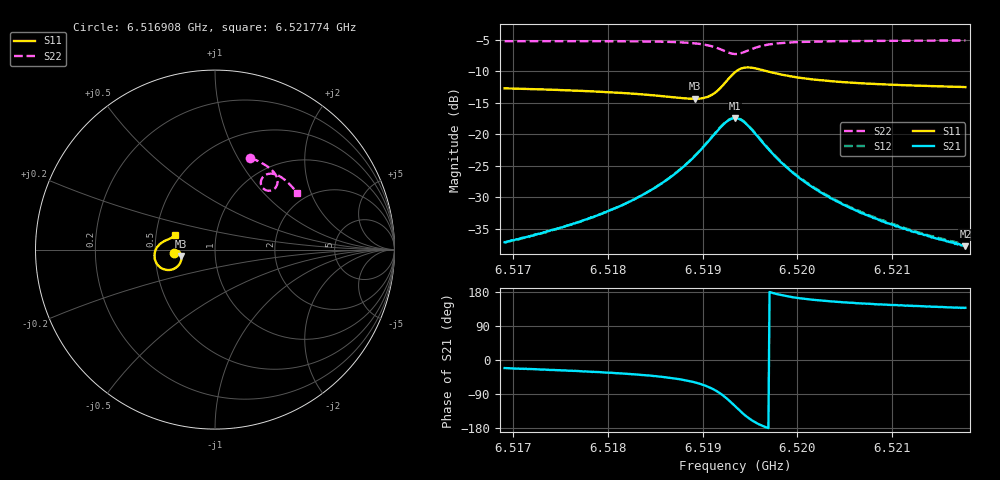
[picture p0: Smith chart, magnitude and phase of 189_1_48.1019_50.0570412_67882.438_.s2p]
#  HZ  S  RI  R  50.00
! Rohde & Schwarz Vector Network Analyzer
! Rohde-Schwarz,ZNB20-2Port,1311601062101988,3.16
! Created: UTC 12/23/2023, 3:53:33 AM
! freq[Hz]  re:S11  im:S11  re:S21  im:S21  re:S12  im:S12  re:S22  im:S22
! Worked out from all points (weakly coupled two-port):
!   401 points, 6.516908 GHz to 6.521774 GHz, reference 50 ohm
!   highest |S21| = -17.45 dB at 6.519341 GHz (marker M1); lowest = -37.8 dB at 6.521774 GHz (marker M2)
!   lowest |S11| = -14.4 dB at 6.518916 GHz (marker M3), VSWR 1.47, Z = 34.1 - j2.48 ohm
!   |S11| at or under -10 dB: start of sweep to 6.519354 GHz; 6.519683 GHz to end of sweep
!   |S22| runs from -7.3 to -5.1 dB; largest |S21 - S12| = 0.0041
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6.5169083e9  -0.2311 -0.0189  0.0129 -0.00504  0.0131 -0.00462  0.1967 0.5115
6.5173219e9  -0.2265 -0.0126  0.0151 -0.00709  0.0152 -0.00654  0.2274 0.4992
6.5177233e9  -0.2209 -0.00776  0.0177 -0.0102  0.0181 -0.00959  0.257 0.4845
6.5181613e9  -0.2126 -0.00539  0.0222 -0.0161  0.023 -0.0154  0.29 0.4645
6.5185384e9  -0.2018 -0.00951  0.0284 -0.0272  0.0295 -0.0264  0.319 0.4407
6.5187331e9  -0.1944 -0.0177  0.0324 -0.0384  0.0338 -0.0376  0.334 0.4229
6.5189155e9  -0.1881 -0.0351  0.0345 -0.0572  0.0365 -0.0566  0.3459 0.3985
6.519025e9  -0.1878 -0.0539  0.0314 -0.0758  0.034 -0.0753  0.3489 0.3776
6.5191102e9  -0.1945 -0.0749  0.0222 -0.0948  0.0252 -0.0948  0.3444 0.3575
6.519244e9  -0.2358 -0.1099  -0.0201 -0.1229  -0.0167 -0.1244  0.3129 0.3295
6.5192927e9  -0.2629 -0.1139  -0.0451 -0.1235  -0.0417 -0.1258  0.2933 0.3283
6.5193413e9  -0.292 -0.1067  -0.0703 -0.1143  -0.0676 -0.1171  0.2743 0.3361
6.51939e9  -0.3166 -0.0888  -0.0904 -0.0959  -0.0881 -0.0993  0.2607 0.3515
6.5194508e9  -0.3338 -0.0582  -0.1024 -0.0674  -0.1013 -0.071  0.2553 0.3749
6.5195603e9  -0.3334 -0.00899  -0.0967 -0.0255  -0.0967 -0.0286  0.2694 0.407
6.5196698e9  -0.3176 0.0199  -0.0799 -0.00353  -0.0805 -0.00581  0.2921 0.4204
6.5199009e9  -0.2874 0.0446  -0.0522 0.0113  -0.053 0.00982  0.3306 0.4208
6.5201564e9  -0.2674 0.0539  -0.0356 0.0136  -0.0365 0.0128  0.3595 0.409
6.5205457e9  -0.2503 0.0614  -0.023 0.0126  -0.0236 0.0121  0.3909 0.3872
6.5209715e9  -0.2385 0.0676  -0.0161 0.011  -0.0166 0.0107  0.4183 0.3622
6.5213851e9  -0.2301 0.0735  -0.012 0.0097  -0.0124 0.00956  0.4408 0.3372
6.5217744e9  -0.2236 0.0788  -0.00956 0.00868  -0.0101 0.00874  0.4596 0.3131
